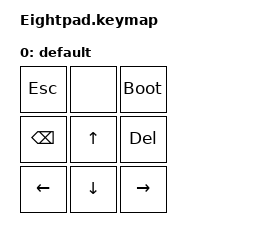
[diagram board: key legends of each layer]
#include <behaviors.dtsi>
#include <dt-bindings/zmk/keys.h>

/ {
    keymap {
        compatible = "zmk,keymap";
        default {
            bindings = <
                &kp ESC   &none    &bootloader
                &kp BSPC    &kp UP    &kp DEL
                &kp LEFT    &kp DOWN    &kp RIGHT
            >;
        };
    };
};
